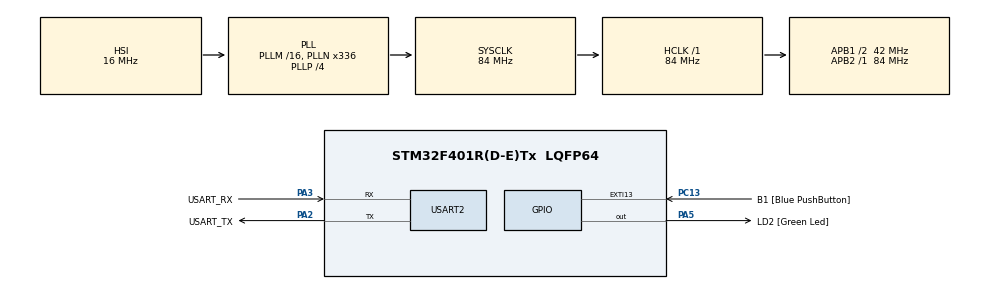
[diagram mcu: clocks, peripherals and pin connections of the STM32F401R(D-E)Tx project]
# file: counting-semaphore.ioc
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FREERTOS.Tasks01=defaultTask,0,128,StartDefaultTask,Default,NULL,Dynamic,NULL,NULL
FREERTOS.configUSE_COUNTING_SEMAPHORES=1
FREERTOS.configUSE_NEWLIB_REENTRANT=1
Mcu.Family=STM32F4
Mcu.Name=STM32F401R(D-E)Tx
Mcu.Package=LQFP64
NVIC.PriorityGroup=NVIC_PRIORITYGROUP_4
NVIC.TIM1_UP_TIM10_IRQn=true\:15\:0\:false\:false\:true\:false\:false\:true\:true
NVIC.TimeBase=TIM1_UP_TIM10_IRQn
NVIC.TimeBaseIP=TIM1
NVIC.USART2_IRQn=true\:5\:0\:false\:false\:true\:true\:true\:true\:true
PA13.GPIO_Label=TMS
PA13.Signal=SYS_JTMS-SWDIO
PA14.GPIO_Label=TCK
PA14.Signal=SYS_JTCK-SWCLK
PA2.GPIO_Label=USART_TX
PA2.GPIO_Mode=GPIO_MODE_AF_PP
PA2.GPIO_PuPd=GPIO_NOPULL
PA2.GPIO_Speed=GPIO_SPEED_FREQ_LOW
PA2.Mode=Asynchronous
PA2.Signal=USART2_TX
PA3.GPIO_Label=USART_RX
PA3.GPIO_Mode=GPIO_MODE_AF_PP
PA3.GPIO_PuPd=GPIO_NOPULL
PA3.GPIO_Speed=GPIO_SPEED_FREQ_LOW
PA3.Mode=Asynchronous
PA3.Signal=USART2_RX
PA5.GPIO_Label=LD2 [Green Led]
PA5.GPIO_Mode=GPIO_MODE_OUTPUT_PP
PA5.GPIO_PuPd=GPIO_NOPULL
PA5.GPIO_Speed=GPIO_SPEED_FREQ_LOW
PA5.Signal=GPIO_Output
PB3.GPIO_Label=SWO
PB3.Signal=SYS_JTDO-SWO
PC13-ANTI_TAMP.GPIO_Label=B1 [Blue PushButton]
PC13-ANTI_TAMP.GPIO_ModeDefaultEXTI=GPIO_MODE_IT_FALLING
PC13-ANTI_TAMP.GPIO_PuPd=GPIO_NOPULL
PC13-ANTI_TAMP.Signal=GPXTI13
PC14-OSC32_IN.Signal=RCC_OSC32_IN
PC15-OSC32_OUT.Signal=RCC_OSC32_OUT
PH0\ -\ OSC_IN.Mode=HSE-External-Oscillator
PH0\ -\ OSC_IN.Signal=RCC_OSC_IN
PH1\ -\ OSC_OUT.Mode=HSE-External-Oscillator
PH1\ -\ OSC_OUT.Signal=RCC_OSC_OUT
ProjectManager.HeapSize=0x200
ProjectManager.StackSize=0x400
ProjectManager.TargetToolchain=STM32CubeIDE
RCC.48MHZClocksFreq_Value=48000000
RCC.AHBFreq_Value=84000000
RCC.APB1CLKDivider=RCC_HCLK_DIV2
RCC.APB1Freq_Value=42000000
RCC.APB1TimFreq_Value=84000000
RCC.APB2Freq_Value=84000000
RCC.APB2TimFreq_Value=84000000
RCC.CortexFreq_Value=84000000
RCC.HCLKFreq_Value=84000000
RCC.HSE_VALUE=8000000
RCC.HSI_VALUE=16000000
RCC.PLLN=336
RCC.PLLP=RCC_PLLP_DIV4
RCC.PLLQ=7
RCC.SYSCLKFreq_VALUE=84000000
RCC.SYSCLKSource=RCC_SYSCLKSOURCE_PLLCLK
RCC.VCOOutputFreq_Value=336000000
USART2.VirtualMode=VM_ASYNC
VP_FREERTOS_VS_CMSIS_V1.Mode=CMSIS_V1
VP_SYS_VS_tim1.Mode=TIM1
board=NUCLEO-F401RE

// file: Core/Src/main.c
/* USER CODE BEGIN Header */
/**
  ******************************************************************************
  * @file           : main.c
  * @brief          : Main program body
  ******************************************************************************
  * @attention
  *
  * Copyright (c) 2026 STMicroelectronics.
  * All rights reserved.
  *
  * This software is licensed under terms that can be found in the LICENSE file
  * in the root directory of this software component.
  * If no LICENSE file comes with this software, it is provided AS-IS.
  *
  ******************************************************************************
  */
/* USER CODE END Header */
#include "main.h"
// #include "cmsis_os.h"

/* USER CODE BEGIN Includes */
#include "FreeRTOS.h"
#include "task.h"
#include "timers.h"
#include "queue.h"
#include "semphr.h"
#include "event_groups.h"
#include "stdlib.h"
#include "string.h"
/* USER CODE END Includes */

UART_HandleTypeDef huart2;

void SystemClock_Config(void);
static void MX_GPIO_Init(void);
static void MX_USART2_UART_Init(void);

/* USER CODE BEGIN 0 */
// Tasks
TaskHandle_t HPThandler;
void HPT_Task(void *pvParameters);
TaskHandle_t MPThandler;
void MPT_Task(void *pvParameters);
TaskHandle_t LPThandler;
void LPT_Task(void *pvParameters);
TaskHandle_t VLPThandler;
void VLPT_Task(void *pvParameters);
// Semaphore
SemaphoreHandle_t CountingSem;
// Resource
int resource[3] = {111,222,333};
int indx = 0;
// UART
uint8_t rx_data = 0;
/* USER CODE END 0 */

int main(void)
{

  /* MCU Configuration--------------------------------------------------------*/

  /* Reset of all peripherals, Initializes the Flash interface and the Systick. */
  HAL_Init();

  /* Configure the system clock */
  SystemClock_Config();

  /* Initialize all configured peripherals */
  MX_GPIO_Init();
  MX_USART2_UART_Init();
  /* USER CODE BEGIN 2 */
  HAL_UART_Receive_IT(&huart2, &rx_data,1);

  CountingSem = xSemaphoreCreateCounting(3,0);
  if (CountingSem == NULL)
  {
    HAL_UART_Transmit(&huart2, (uint8_t *)"Unable to create semaphore\r\n", 28, 100);
    // transmit 29 bytes, wait 100ms for transmission before returning an error
  }
  else
  {
    HAL_UART_Transmit(&huart2, (uint8_t *)"Counting semaphore created successfully\r\n", 41, 1000);
  }
  // create tasks
  xTaskCreate(HPT_TASK, "HPT", 128, NULL, 3, &HPThandler);
  xTaskCreate(MPT_Task, "MPT", 128, NULL, 2, &MPThandler);
  xTaskCreate(LPT_Task, "LPT", 128, NULL, 1, &LPThandler);
  xTaskCreate(VLPT_Task, "VLPT", 128, NULL, 0, &VLPThandler);
  vTaskStartScheduler();
  /* USER CODE END 2 */

  /* Create the thread(s) */
  /* definition and creation of defaultTask */

  /* Start scheduler */

  /* We should never get here as control is now taken by the scheduler */

  /* Infinite loop */
  while (1)
  {

  }
}

void SystemClock_Config(void)
{
  RCC_OscInitTypeDef RCC_OscInitStruct = {0};
  RCC_ClkInitTypeDef RCC_ClkInitStruct = {0};

  /** Configure the main internal regulator output voltage
  */
  __HAL_RCC_PWR_CLK_ENABLE();
  __HAL_PWR_VOLTAGESCALING_CONFIG(PWR_REGULATOR_VOLTAGE_SCALE2);

  /** Initializes the RCC Oscillators according to the specified parameters
  * in the RCC_OscInitTypeDef structure.
  */
  RCC_OscInitStruct.OscillatorType = RCC_OSCILLATORTYPE_HSI;
  RCC_OscInitStruct.HSIState = RCC_HSI_ON;
  RCC_OscInitStruct.HSICalibrationValue = RCC_HSICALIBRATION_DEFAULT;
  RCC_OscInitStruct.PLL.PLLState = RCC_PLL_ON;
  RCC_OscInitStruct.PLL.PLLSource = RCC_PLLSOURCE_HSI;
  RCC_OscInitStruct.PLL.PLLM = 16;
  RCC_OscInitStruct.PLL.PLLN = 336;
  RCC_OscInitStruct.PLL.PLLP = RCC_PLLP_DIV4;
  RCC_OscInitStruct.PLL.PLLQ = 7;
  if (HAL_RCC_OscConfig(&RCC_OscInitStruct) != HAL_OK)
  {
    Error_Handler();
  }

  /** Initializes the CPU, AHB and APB buses clocks
  */
  RCC_ClkInitStruct.ClockType = RCC_CLOCKTYPE_HCLK|RCC_CLOCKTYPE_SYSCLK
                              |RCC_CLOCKTYPE_PCLK1|RCC_CLOCKTYPE_PCLK2;
  RCC_ClkInitStruct.SYSCLKSource = RCC_SYSCLKSOURCE_PLLCLK;
  RCC_ClkInitStruct.AHBCLKDivider = RCC_SYSCLK_DIV1;
  RCC_ClkInitStruct.APB1CLKDivider = RCC_HCLK_DIV2;
  RCC_ClkInitStruct.APB2CLKDivider = RCC_HCLK_DIV1;

  if (HAL_RCC_ClockConfig(&RCC_ClkInitStruct, FLASH_LATENCY_2) != HAL_OK)
  {
    Error_Handler();
  }
}

static void MX_USART2_UART_Init(void)
{

  huart2.Instance = USART2;
  huart2.Init.BaudRate = 115200;
  huart2.Init.WordLength = UART_WORDLENGTH_8B;
  huart2.Init.StopBits = UART_STOPBITS_1;
  huart2.Init.Parity = UART_PARITY_NONE;
  huart2.Init.Mode = UART_MODE_TX_RX;
  huart2.Init.HwFlowCtl = UART_HWCONTROL_NONE;
  huart2.Init.OverSampling = UART_OVERSAMPLING_16;
  if (HAL_UART_Init(&huart2) != HAL_OK)
  {
    Error_Handler();
  }

}

static void MX_GPIO_Init(void)
{
  GPIO_InitTypeDef GPIO_InitStruct = {0};

  /* GPIO Ports Clock Enable */
  __HAL_RCC_GPIOC_CLK_ENABLE();
  __HAL_RCC_GPIOH_CLK_ENABLE();
  __HAL_RCC_GPIOA_CLK_ENABLE();
  __HAL_RCC_GPIOB_CLK_ENABLE();

  /*Configure GPIO pin Output Level */
  HAL_GPIO_WritePin(LD2_GPIO_Port, LD2_Pin, GPIO_PIN_RESET);

  /*Configure GPIO pin : B1_Pin */
  GPIO_InitStruct.Pin = B1_Pin;
  GPIO_InitStruct.Mode = GPIO_MODE_IT_FALLING;
  GPIO_InitStruct.Pull = GPIO_NOPULL;
  HAL_GPIO_Init(B1_GPIO_Port, &GPIO_InitStruct);

  /*Configure GPIO pin : LD2_Pin */
  GPIO_InitStruct.Pin = LD2_Pin;
  GPIO_InitStruct.Mode = GPIO_MODE_OUTPUT_PP;
  GPIO_InitStruct.Pull = GPIO_NOPULL;
  GPIO_InitStruct.Speed = GPIO_SPEED_FREQ_LOW;
  HAL_GPIO_Init(LD2_GPIO_Port, &GPIO_InitStruct);

}

/* USER CODE BEGIN 4 */
void HPT_TASK(void *pvParameters)
{
  char sresource[3];
  // semaphore starts at 0. add 3 to indicate that there are 3 available
  // xSemaphoreGive(CountingSem);
  // xSemaphoreGive(CountingSem);
  // xSemaphoreGive(CountingSem);
  int semcount = 0;
  char ssemcount[2];
  while(1)
  {
    char str[150];
    strcpy(str, "Entered HPT Task\r\nAbout to acquire semaphore\r\n");
    HAL_UART_Transmit(&huart2, (uint8_t *)str, strlen(str), HAL_MAX_DELAY);
    xSemaphoreTake(CountingSem, portMAX_DELAY);
    itoa(resource[indx], sresource, 10); // 10 - convert string to int using base 10
    strcpy(str, "Leaving HPT Task\r\nData accessed: ");
    strcat(str, sresource);
    strcat(str, "Didn't release semaphore\r\n");
    HAL_UART_Transmit(&huart2, (uint8_t *)str, strlen(str), HAL_MAX_DELAY);
    indx++;
    if(indx > 2) {
      indx = 0;
    }
    // vTaskDelay(3000)
    vTaskDelete(NULL);
  }
}
void MPT_TASK(void *pvParameters)
{
  char sresource[3];
  while(1)
  {
    char str[150];
    strcpy(str, "Entered MPT Task\r\nAbout to acquire semaphore\r\n");
    HAL_UART_Transmit(&huart2, (uint8_t *)str, strlen(str), HAL_MAX_DELAY);
    xSemaphoreTake(CountingSem, portMAX_DELAY);
    itoa(resource[indx], sresource, 10); // 10 - convert string to int using base 10
    strcpy(str, "Leaving MPT Task\r\nData accessed: ");
    strcat(str, sresource);
    strcat(str, "Didn't release semaphore\r\n");
    HAL_UART_Transmit(&huart2, (uint8_t *)str, strlen(str), HAL_MAX_DELAY);
    indx++;
    if(indx > 2) {
      indx = 0;
    }
    // vTaskDelay(3000);
    vTaskDelete(NULL);
  }
}
void LPT_TASK(void *pvParameters)
{
  char sresource[3];
  while(1)
  {
    char str[150];
    strcpy(str, "Entered LPT Task\r\nAbout to acquire semaphore\r\n");
    HAL_UART_Transmit(&huart2, (uint8_t *)str, strlen(str), HAL_MAX_DELAY);
    xSemaphoreTake(CountingSem, portMAX_DELAY);
    itoa(resource[indx], sresource, 10); // 10 - convert string to int using base 10
    strcpy(str, "Leaving LPT Task\r\nData accessed: ");
    strcat(str, sresource);
    strcat(str, "Didn't release semaphore\r\n");
    HAL_UART_Transmit(&huart2, (uint8_t *)str, strlen(str), HAL_MAX_DELAY);
    indx++;
    if(indx > 2) {
      indx = 0;
    }
    vTaskDelay(3000);
  }
}
void VLPT_TASK(void *pvParameters)
{
  char sresource[3];
  while(1)
  {
    char str[150];
    strcpy(str, "Entered VLPT Task\r\nAbout to acquire semaphore\r\n");
    HAL_UART_Transmit(&huart2, (uint8_t *)str, strlen(str), HAL_MAX_DELAY);
    xSemaphoreTake(CountingSem, portMAX_DELAY);
    itoa(resource[indx], sresource, 10); // 10 - convert string to int using base 10
    strcpy(str, "Leaving VLPT Task\r\nData accessed: ");
    strcat(str, sresource);
    strcat(str, "Didn't release semaphore\r\n");
    HAL_UART_Transmit(&huart2, (uint8_t *)str, strlen(str), HAL_MAX_DELAY);
    indx++;
    if(indx > 2) {
      indx = 0;
    }
    vTaskDelay(3000);
  }
}

// UART callback function
void HAL_UART_RxCpltCallback(UART_HandleTypeDef *huart)
{
   // wait for 1 byte of data on UART. store it in rx_data. ensures code doesn't block; make microcontroller ready to receive the next byte
   // without this line, callback would oly trigger once
  HAL_UART_Receive_IT(huart, &rx_data, 1);

  if(rx_data == 'r')
  {
    BaseType_txHigherPriorityTaskWoken = pdFALSE; // variable tracks if a higher priority task should run
    xSemaphoreGiveFromISR(CountingSem, &xHigherPriorityTaskWoken); // release semaphore from interrupt
    portEND_SWITCHING_ISR(xHigherPriorityTaskWoken); // if a higher priority task was woken, switch to it
  }
}
/* USER CODE END 4 */

void HAL_TIM_PeriodElapsedCallback(TIM_HandleTypeDef *htim)
{
  if (htim->Instance == TIM1)
  {
    HAL_IncTick();
  }
}

void Error_Handler(void)
{
  __disable_irq();
  while (1)
  {
  }
}
